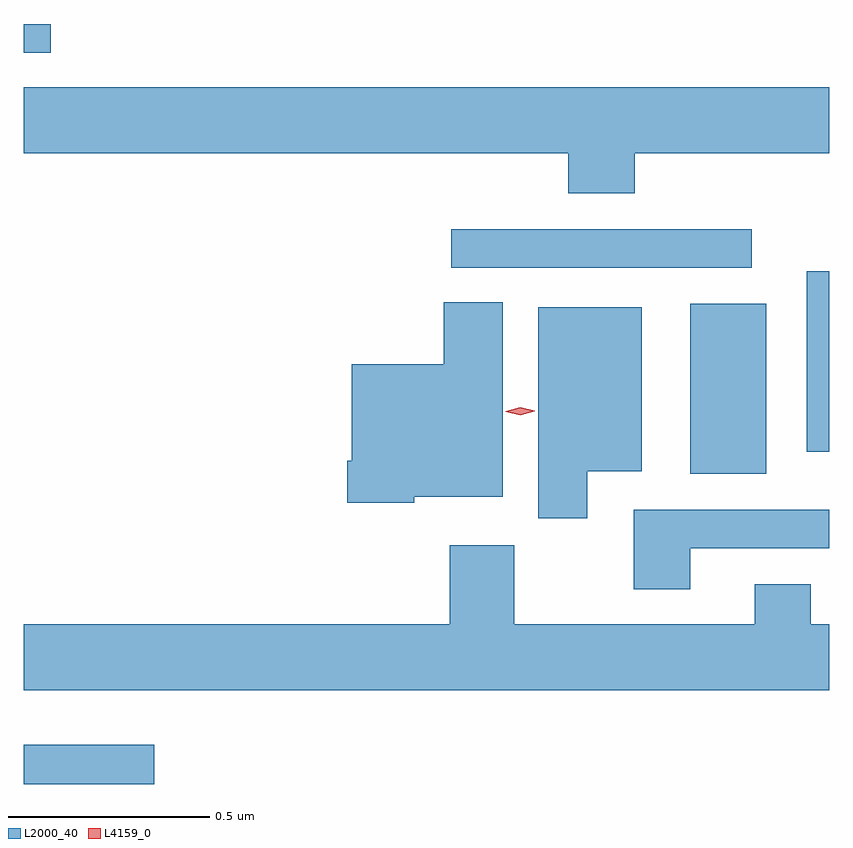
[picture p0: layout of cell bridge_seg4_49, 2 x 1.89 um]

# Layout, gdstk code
import gdstk
lib = gdstk.Library(unit=1e-6, precision=1e-09)
def R(c, l, rs):  # rectangles x0, y0, x1, y1
    for r in rs: c.add(gdstk.rectangle(r[:2], r[2:], *l))
def P(c, l, *ps):  # polygons
    for p in ps: c.add(gdstk.Polygon(p, *l))
L2000_40 = (2000, 40)
L4159_0 = (4159, 0)

bridge_seg4_49 = lib.new_cell('bridge_seg4_49')
R(bridge_seg4_49, L2000_40, [(744.393,769.947,744.718,770.044), (746.048,770.717,746.236,771.139), (746.336,770.772,746.393,771.22), (745.455,771.228,746.2,771.324), (744.393,771.762,744.46,771.833)])
P(bridge_seg4_49, L2000_40, [(745.91,771.512),(746.393,771.512),(746.393,771.676),(744.393,771.676),(744.393,771.512),(745.745,771.512),(745.745,771.413),(745.91,771.413)],
  [(745.362,770.66),(745.582,770.66),(745.582,771.143),(745.436,771.143),(745.436,770.989),(745.208,770.989),(745.208,770.749),(745.196,770.749),(745.196,770.645),(745.362,770.645)],
  [(745.792,770.723),(745.927,770.723),(745.927,771.13),(745.67,771.13),(745.67,770.607),(745.792,770.607)],
  [(746.047,770.532),(746.393,770.532),(746.393,770.628),(745.907,770.628),(745.907,770.43),(746.047,770.43)],
  [(746.393,770.344),(746.347,770.344),(746.347,770.443),(746.207,770.443),(746.207,770.344),(745.611,770.344),(745.611,770.539),(745.451,770.539),(745.451,770.344),(744.393,770.344),(744.393,770.18),(746.393,770.18)])
P(bridge_seg4_49, L4159_0, [(745.626,770.862),(745.59,770.871),(745.59,770.872),(745.59,770.872),(745.626,770.882),(745.662,770.873),(745.662,770.872),(745.662,770.872)])

lib.write_gds('bridge_seg4_49.gds')
